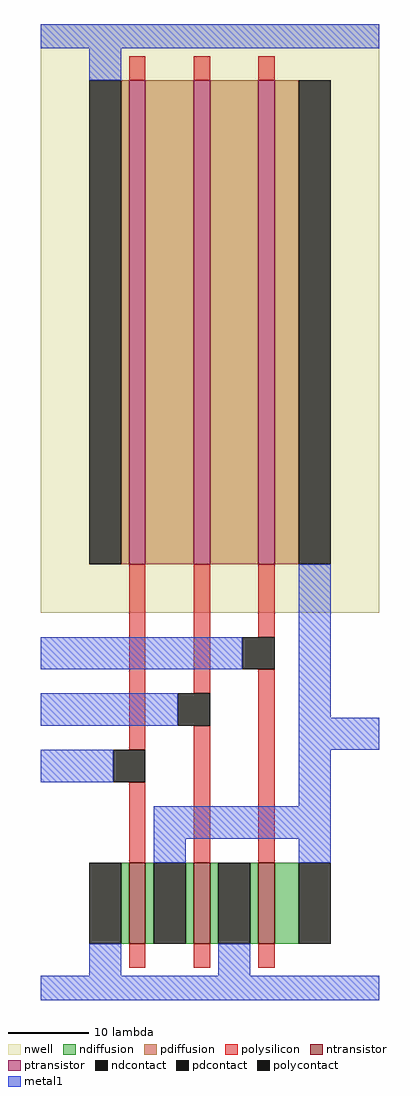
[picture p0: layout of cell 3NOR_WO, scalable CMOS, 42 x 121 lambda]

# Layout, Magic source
magic
tech scmos
<< nwell >>
rect 1 -3 43 70
<< ntransistor >>
rect 12 -44 14 -34
rect 20 -44 22 -34
rect 28 -44 30 -34
<< ptransistor >>
rect 12 3 14 63
rect 20 3 22 63
rect 28 3 30 63
<< ndiffusion >>
rect 11 -44 12 -34
rect 14 -44 15 -34
rect 19 -44 20 -34
rect 22 -44 23 -34
rect 27 -44 28 -34
rect 30 -44 33 -34
<< pdiffusion >>
rect 11 3 12 63
rect 14 3 20 63
rect 22 3 28 63
rect 30 3 33 63
<< ndcontact >>
rect 7 -44 11 -34
rect 15 -44 19 -34
rect 23 -44 27 -34
rect 33 -44 37 -34
<< pdcontact >>
rect 7 3 11 63
rect 33 3 37 63
<< polysilicon >>
rect 12 63 14 66
rect 20 63 22 66
rect 28 63 30 66
rect 12 -20 14 3
rect 20 -13 22 3
rect 28 -6 30 3
rect 12 -34 14 -24
rect 20 -34 22 -17
rect 28 -34 30 -10
rect 12 -47 14 -44
rect 20 -47 22 -44
rect 28 -47 30 -44
<< polycontact >>
rect 26 -10 30 -6
rect 18 -17 22 -13
rect 10 -24 14 -20
<< metal1 >>
rect 1 67 43 70
rect 7 63 11 67
rect 1 -10 26 -6
rect 1 -17 18 -13
rect 33 -16 37 3
rect 33 -20 43 -16
rect 1 -24 10 -20
rect 33 -27 37 -20
rect 15 -31 37 -27
rect 15 -34 19 -31
rect 33 -34 37 -31
rect 7 -48 11 -44
rect 23 -48 27 -44
rect 1 -51 43 -48
<< end >>
